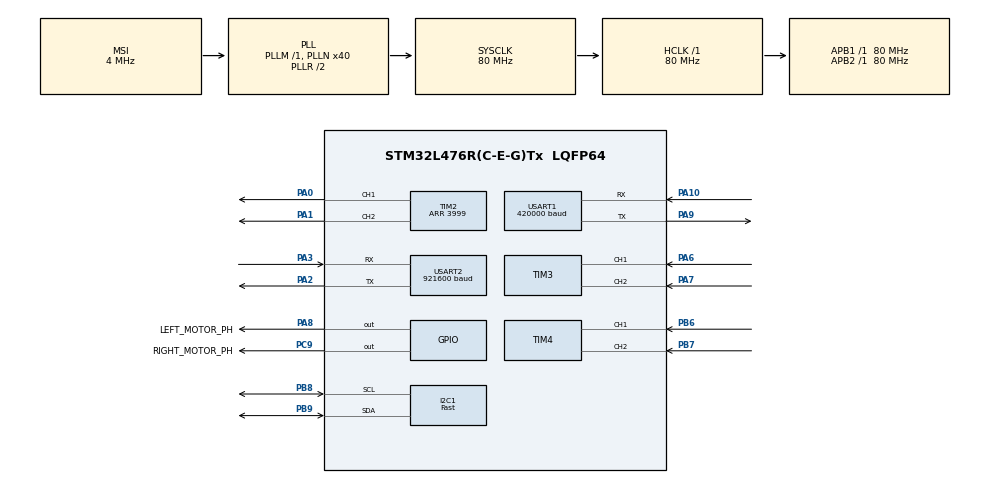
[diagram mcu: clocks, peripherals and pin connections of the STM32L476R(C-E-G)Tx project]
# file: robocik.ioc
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Dma.Request0=USART1_RX
Dma.USART1_RX.0.Direction=DMA_PERIPH_TO_MEMORY
Dma.USART1_RX.0.Instance=DMA1_Channel5
Dma.USART1_RX.0.MemDataAlignment=DMA_MDATAALIGN_BYTE
Dma.USART1_RX.0.MemInc=DMA_MINC_ENABLE
Dma.USART1_RX.0.Mode=DMA_NORMAL
Dma.USART1_RX.0.PeriphDataAlignment=DMA_PDATAALIGN_BYTE
Dma.USART1_RX.0.PeriphInc=DMA_PINC_DISABLE
Dma.USART1_RX.0.Priority=DMA_PRIORITY_LOW
FREERTOS.Tasks01=defaultTask,24,128,StartDefaultTask,Default,NULL,Dynamic,NULL,NULL
FREERTOS.configENABLE_FPU=1
FREERTOS.configTOTAL_HEAP_SIZE=16384
FREERTOS.configUSE_NEWLIB_REENTRANT=1
I2C1.I2C_Speed_Mode=I2C_Fast
I2C1.Timing=0x00F12981
Mcu.Family=STM32L4
Mcu.Name=STM32L476R(C-E-G)Tx
Mcu.Package=LQFP64
NVIC.DMA1_Channel5_IRQn=true\:5\:0\:false\:false\:true\:true\:false\:true\:true
NVIC.PriorityGroup=NVIC_PRIORITYGROUP_4
NVIC.TIM7_IRQn=true\:15\:0\:false\:false\:true\:false\:false\:true\:true
NVIC.TimeBase=TIM7_IRQn
NVIC.TimeBaseIP=TIM7
NVIC.USART1_IRQn=true\:5\:0\:false\:false\:true\:true\:true\:true\:true
PA0.Signal=S_TIM2_CH1
PA1.Signal=S_TIM2_CH2
PA10.Mode=Asynchronous
PA10.Signal=USART1_RX
PA2.Mode=Asynchronous
PA2.Signal=USART2_TX
PA3.Mode=Asynchronous
PA3.Signal=USART2_RX
PA6.Signal=S_TIM3_CH1
PA7.Signal=S_TIM3_CH2
PA8.GPIO_Label=LEFT_MOTOR_PH
PA8.Signal=GPIO_Output
PA9.Mode=Asynchronous
PA9.Signal=USART1_TX
PB6.Signal=S_TIM4_CH1
PB7.Signal=S_TIM4_CH2
PB8.Mode=I2C
PB8.Signal=I2C1_SCL
PB9.Mode=I2C
PB9.Signal=I2C1_SDA
PC9.GPIO_Label=RIGHT_MOTOR_PH
PC9.Signal=GPIO_Output
ProjectManager.HeapSize=0x200
ProjectManager.StackSize=0x400
ProjectManager.TargetToolchain=STM32CubeIDE
RCC.AHBFreq_Value=80000000
RCC.APB1Freq_Value=80000000
RCC.APB1TimFreq_Value=80000000
RCC.APB2Freq_Value=80000000
RCC.APB2TimFreq_Value=80000000
RCC.CortexFreq_Value=80000000
RCC.HCLKFreq_Value=80000000
RCC.HSE_VALUE=8000000
RCC.HSI_VALUE=16000000
RCC.LSE_VALUE=32768
RCC.MSI_VALUE=4000000
RCC.PLLN=40
RCC.SYSCLKFreq_VALUE=80000000
RCC.SYSCLKSource=RCC_SYSCLKSOURCE_PLLCLK
RCC.VCOOutputFreq_Value=160000000
SH.S_TIM2_CH1.0=TIM2_CH1,PWM Generation1 CH1
SH.S_TIM2_CH2.0=TIM2_CH2,PWM Generation2 CH2
SH.S_TIM3_CH1.0=TIM3_CH1,Encoder_Interface
SH.S_TIM3_CH2.0=TIM3_CH2,Encoder_Interface
SH.S_TIM4_CH1.0=TIM4_CH1,Encoder_Interface
SH.S_TIM4_CH2.0=TIM4_CH2,Encoder_Interface
TIM2.Channel-PWM\ Generation1\ CH1=TIM_CHANNEL_1
TIM2.Channel-PWM\ Generation2\ CH2=TIM_CHANNEL_2
TIM2.Period=3999
USART1.BaudRate=420000
USART1.Mode=MODE_RX
USART1.VirtualMode-Asynchronous=VM_ASYNC
USART2.BaudRate=921600
USART2.VirtualMode-Asynchronous=VM_ASYNC
VP_FREERTOS_VS_CMSIS_V2.Mode=CMSIS_V2
VP_SYS_VS_tim7.Mode=TIM7
VP_TIM2_VS_ClockSourceINT.Mode=Internal
board=custom

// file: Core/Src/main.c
/* USER CODE BEGIN Header */
/**
  ******************************************************************************
  * @file           : main.c
  * @brief          : Main program body
  ******************************************************************************
  * @attention
  *
  * Copyright (c) 2026 STMicroelectronics.
  * All rights reserved.
  *
  * This software is licensed under terms that can be found in the LICENSE file
  * in the root directory of this software component.
  * If no LICENSE file comes with this software, it is provided AS-IS.
  *
  ******************************************************************************
  */
/* USER CODE END Header */
#include "main.h"
#include "cmsis_os.h"
#include "dma.h"
#include "i2c.h"
#include "tim.h"
#include "usart.h"
#include "gpio.h"

/* USER CODE BEGIN Includes */
#include "queue.h"
#include "stdio.h"
#include "control_task.h"
#include "communication_task.h"
#include "RC_Command.h"
#include "Log_Frame.h"
#include "logging_task.h"
/* USER CODE END Includes */

/* USER CODE BEGIN PV */
QueueHandle_t rcQueue;
QueueHandle_t logQueue;
/* USER CODE END PV */

void SystemClock_Config(void);
void MX_FREERTOS_Init(void);

/* USER CODE BEGIN 0 */

int __io_putchar(int ch){
	if(ch == '\n') __io_putchar('\r');
	HAL_UART_Transmit(&huart2, (uint8_t*)&ch, 1, HAL_MAX_DELAY);
	return 1;
}

osThreadId_t controlTaskHandle;

const osThreadAttr_t controlTask_attributes = {
		.name = "vControlTask",
		.stack_size = 2048,
		.priority = (osPriority_t) osPriorityHigh
};

osThreadId_t CommunicationTaskHandle;

const osThreadAttr_t CommunicationTask_attributes = {
		.name = "vCommunicationTask",
		.stack_size = 2048,
		.priority = (osPriority_t) osPriorityLow
};

osThreadId_t LoggingTaskHandle;

const osThreadAttr_t LoggingTask_attributes = {
		.name = "vLoggingTask",
		.stack_size = 2048,
		.priority = (osPriority_t) osPriorityLow
};

/* USER CODE END 0 */

int main(void)
{

  /* MCU Configuration--------------------------------------------------------*/

  /* Reset of all peripherals, Initializes the Flash interface and the Systick. */
  HAL_Init();

  /* Configure the system clock */
  SystemClock_Config();

  /* Initialize all configured peripherals */
  MX_GPIO_Init();
  MX_DMA_Init();
  MX_TIM3_Init();
  MX_USART2_UART_Init();
  MX_TIM4_Init();
  MX_I2C1_Init();
  MX_TIM2_Init();
  MX_USART1_UART_Init();
  /* USER CODE BEGIN 2 */

  controlTaskHandle = osThreadNew(vControlTask, NULL, &controlTask_attributes);

  CommunicationTaskHandle = osThreadNew(vCommunicationTask, NULL, &CommunicationTask_attributes);

  LoggingTaskHandle = osThreadNew(vLoggingTask, NULL, &LoggingTask_attributes);

  rcQueue = xQueueCreate(1, sizeof(RC_Command_t));

  logQueue = xQueueCreate(5, sizeof(Log_Frame_t));

  /* USER CODE END 2 */

  /* Init scheduler */
  osKernelInitialize();

  /* Call init function for freertos objects (in cmsis_os2.c) */
  MX_FREERTOS_Init();

  /* Start scheduler */
  osKernelStart();

  /* We should never get here as control is now taken by the scheduler */

  /* Infinite loop */
  while (1)
  {

  }
}

void SystemClock_Config(void)
{
  RCC_OscInitTypeDef RCC_OscInitStruct = {0};
  RCC_ClkInitTypeDef RCC_ClkInitStruct = {0};

  /** Configure the main internal regulator output voltage
  */
  if (HAL_PWREx_ControlVoltageScaling(PWR_REGULATOR_VOLTAGE_SCALE1) != HAL_OK)
  {
    Error_Handler();
  }

  /** Initializes the RCC Oscillators according to the specified parameters
  * in the RCC_OscInitTypeDef structure.
  */
  RCC_OscInitStruct.OscillatorType = RCC_OSCILLATORTYPE_MSI;
  RCC_OscInitStruct.MSIState = RCC_MSI_ON;
  RCC_OscInitStruct.MSICalibrationValue = 0;
  RCC_OscInitStruct.MSIClockRange = RCC_MSIRANGE_6;
  RCC_OscInitStruct.PLL.PLLState = RCC_PLL_ON;
  RCC_OscInitStruct.PLL.PLLSource = RCC_PLLSOURCE_MSI;
  RCC_OscInitStruct.PLL.PLLM = 1;
  RCC_OscInitStruct.PLL.PLLN = 40;
  RCC_OscInitStruct.PLL.PLLP = RCC_PLLP_DIV7;
  RCC_OscInitStruct.PLL.PLLQ = RCC_PLLQ_DIV2;
  RCC_OscInitStruct.PLL.PLLR = RCC_PLLR_DIV2;
  if (HAL_RCC_OscConfig(&RCC_OscInitStruct) != HAL_OK)
  {
    Error_Handler();
  }

  /** Initializes the CPU, AHB and APB buses clocks
  */
  RCC_ClkInitStruct.ClockType = RCC_CLOCKTYPE_HCLK|RCC_CLOCKTYPE_SYSCLK
                              |RCC_CLOCKTYPE_PCLK1|RCC_CLOCKTYPE_PCLK2;
  RCC_ClkInitStruct.SYSCLKSource = RCC_SYSCLKSOURCE_PLLCLK;
  RCC_ClkInitStruct.AHBCLKDivider = RCC_SYSCLK_DIV1;
  RCC_ClkInitStruct.APB1CLKDivider = RCC_HCLK_DIV1;
  RCC_ClkInitStruct.APB2CLKDivider = RCC_HCLK_DIV1;

  if (HAL_RCC_ClockConfig(&RCC_ClkInitStruct, FLASH_LATENCY_4) != HAL_OK)
  {
    Error_Handler();
  }
}

void HAL_TIM_PeriodElapsedCallback(TIM_HandleTypeDef *htim)
{
  if (htim->Instance == TIM7) {
    HAL_IncTick();
  }
}

void Error_Handler(void)
{
  __disable_irq();
  while (1)
  {
  }
}
